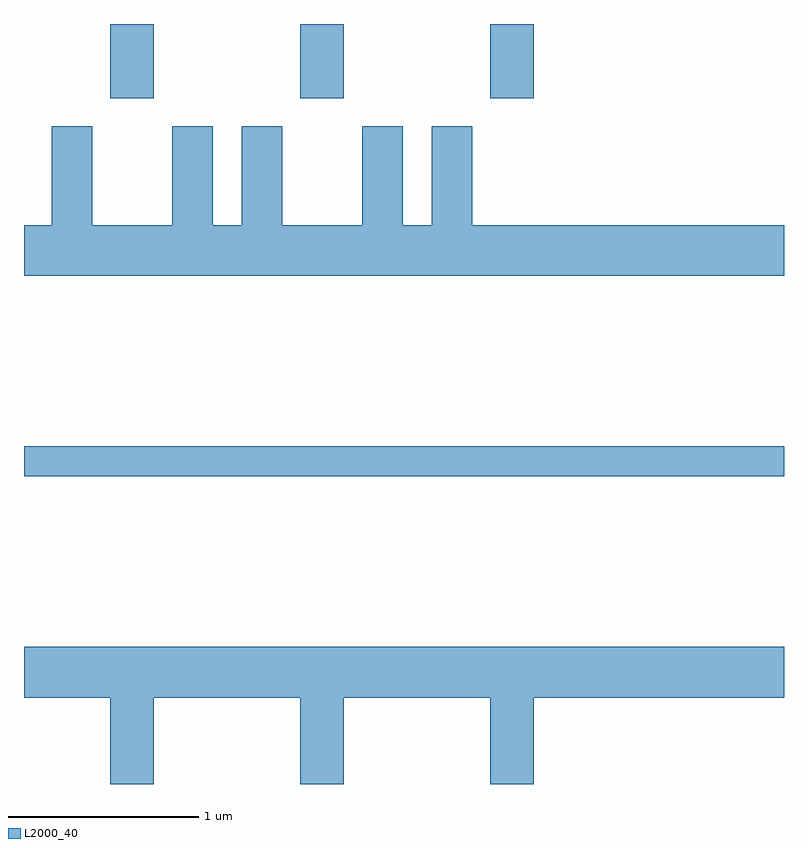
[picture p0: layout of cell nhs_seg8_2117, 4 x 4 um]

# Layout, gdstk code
import gdstk
lib = gdstk.Library(unit=1e-6, precision=1e-09)
def R(c, l, rs):  # rectangles x0, y0, x1, y1
    for r in rs: c.add(gdstk.rectangle(r[:2], r[2:], *l))
def A(c, l, x, y, w, h, nx, ny, dx, dy):  # array of equal rectangles
    R(c, l, [(x+i*dx, y+j*dy, x+i*dx+w, y+j*dy+h) for i in range(nx) for j in range(ny)])
def P(c, l, *ps):  # polygons
    for p in ps: c.add(gdstk.Polygon(p, *l))
L2000_40 = (2000, 40)

nhs_seg8_2117 = lib.new_cell('nhs_seg8_2117')
A(nhs_seg8_2117, L2000_40, 248.066, 1903.951, 0.228, 0.391, 3, 1, 1, 0)
R(nhs_seg8_2117, L2000_40, [(247.611,1901.961,251.611,1902.119)])
P(nhs_seg8_2117, L2000_40, [(251.611,1903.284),(249.969,1903.284),(249.969,1903.804),(249.756,1903.804),(249.756,1903.284),(249.604,1903.284),(249.604,1903.804),(249.391,1903.804),(249.391,1903.284),(248.969,1903.284),(248.969,1903.804),(248.756,1903.804),(248.756,1903.284),(248.604,1903.284),(248.604,1903.804),(248.391,1903.804),(248.391,1903.284),(247.969,1903.284),(247.969,1903.804),(247.756,1903.804),(247.756,1903.284),(247.611,1903.284),(247.611,1903.016),(251.611,1903.016)],
  [(248.294,1900.796),(249.066,1900.796),(249.066,1900.342),(249.294,1900.342),(249.294,1900.796),(250.066,1900.796),(250.066,1900.342),(250.294,1900.342),(250.294,1900.796),(251.611,1900.796),(251.611,1901.064),(247.611,1901.064),(247.611,1900.796),(248.066,1900.796),(248.066,1900.342),(248.294,1900.342)])

lib.write_gds('nhs_seg8_2117.gds')
